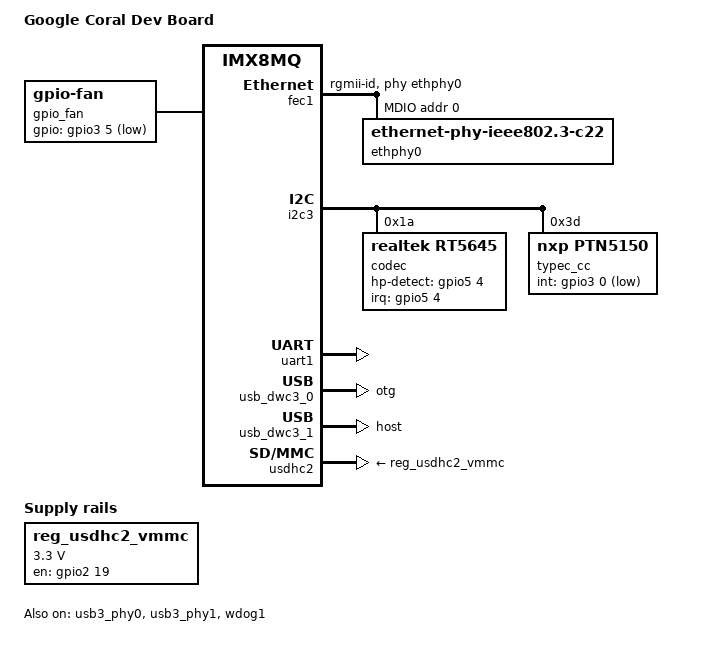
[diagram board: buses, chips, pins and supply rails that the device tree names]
// SPDX-License-Identifier: (GPL-2.0 OR MIT)

/dts-v1/;

#include <dt-bindings/gpio/gpio.h>
#include <dt-bindings/interrupt-controller/irq.h>

#include "imx8mq-coral.dtsi"

/ {
	model = "Google Coral Dev Board";
	compatible = "fsl,imx8mq";

	chosen {
		stdout-path = &uart1;
	};

	gpio_fan: gpio-fan {
		compatible = "gpio-fan";
		gpios = <&gpio3 5 GPIO_ACTIVE_LOW>;
		gpio-fan,speed-map =
			<0	0>,
			<8600	1>;
		#cooling-cells = <2>;
	};

	reg_usdhc2_vmmc: regulator-usdhc2-vmmc {
		compatible = "regulator-fixed";
		pinctrl-names = "default";
		pinctrl-0 = <&pinctrl_usdhc2_pwr>;
		regulator-name = "VSD_3V3";
		regulator-min-microvolt = <3300000>;
		regulator-max-microvolt = <3300000>;
		gpio = <&gpio2 19 GPIO_ACTIVE_HIGH>;
		enable-active-high;
	};

	thermal-zones {
		cpu-thermal {
			trips {
				cpu_active: cpu-active {
					temperature = <65000>;
					hysteresis = <10000>;
					type = "active";
				};
			};

			cooling-maps {
				map4 {
					trip = <&cpu_active>;
					cooling-device = <&gpio_fan 0 1>;
				};
			};
		};
	};
};

&fec1 {
	pinctrl-names = "default";
	pinctrl-0 = <&pinctrl_fec1>, <&pinctrl_fec1_phy_reset>;
	phy-mode = "rgmii-id";
	phy-handle = <&ethphy0>;
	fsl,magic-packet;
	status = "okay";

	mdio {
		#address-cells = <1>;
		#size-cells = <0>;

		ethphy0: ethernet-phy@0 {
			compatible = "ethernet-phy-ieee802.3-c22";
			reg = <0>;
			/*eee-broken-100tx;
			eee-broken-1000t;*/
		};
	};
};

&i2c3 {
	status = "okay";

	codec: codec@1a {
		compatible = "realtek,rt5645";
		reg = <0x1a>;
		realtek,dmic1-data-pin = <2>;
		realtek,jd-mode = <0>;
		hp-detect-gpios = <&gpio5 4 GPIO_ACTIVE_HIGH>;
		interrupt-parent = <&gpio5>;
		interrupts = <4 IRQ_TYPE_EDGE_BOTH>;
	};

	typec_cc: configuration-channel@3d {
		compatible = "nxp,ptn5150";
		reg = <0x3d>;
		pinctrl-names = "default";
		pinctrl-0 = <&pinctrl_typec>;
		int-gpio = <&gpio3 0 GPIO_ACTIVE_LOW>;
		/*vbus-gpio*/
	};
};

&iomuxc {
	pinctrl-names = "default";
	pinctrl-0 = <&pinctrl_hog>;

	pinctrl_hog: hoggrp {
		fsl,pins =
			<MX8MQ_IOMUXC_NAND_READY_B_GPIO3_IO16	0x19>,
			<MX8MQ_IOMUXC_NAND_WE_B_GPIO3_IO17	0x19>;
	};

	pinctrl_fec1: fec1grp {
		fsl,pins =
			<MX8MQ_IOMUXC_ENET_MDC_ENET1_MDC		0x3>,
			<MX8MQ_IOMUXC_ENET_MDIO_ENET1_MDIO		0x23>,
			<MX8MQ_IOMUXC_ENET_TD3_ENET1_RGMII_TD3		0x1f>,
			<MX8MQ_IOMUXC_ENET_TD2_ENET1_RGMII_TD2		0x1f>,
			<MX8MQ_IOMUXC_ENET_TD1_ENET1_RGMII_TD1		0x1f>,
			<MX8MQ_IOMUXC_ENET_TD0_ENET1_RGMII_TD0		0x1f>,
			<MX8MQ_IOMUXC_ENET_RD3_ENET1_RGMII_RD3		0x91>,
			<MX8MQ_IOMUXC_ENET_RD2_ENET1_RGMII_RD2		0x91>,
			<MX8MQ_IOMUXC_ENET_RD1_ENET1_RGMII_RD1		0x91>,
			<MX8MQ_IOMUXC_ENET_RD0_ENET1_RGMII_RD0		0x91>,
			<MX8MQ_IOMUXC_ENET_TXC_ENET1_RGMII_TXC		0x1f>,
			<MX8MQ_IOMUXC_ENET_RXC_ENET1_RGMII_RXC		0x91>,
			<MX8MQ_IOMUXC_ENET_RX_CTL_ENET1_RGMII_RX_CTL	0x91>,
			<MX8MQ_IOMUXC_ENET_TX_CTL_ENET1_RGMII_TX_CTL	0x1f>;
	};

	pinctrl_fec1_phy_reset: fec1phyresetgrp {
		fsl,pins =
			<MX8MQ_IOMUXC_GPIO1_IO09_GPIO1_IO9		0x19>;
	};

	pinctrl_typec: typecgrp {
		fsl,pins =
			<MX8MQ_IOMUXC_NAND_ALE_GPIO3_IO0	0x19>;
	};

	pinctrl_usdhc2_pwr: usdhc2grppwr {
		fsl,pins =
			<MX8MQ_IOMUXC_SD2_RESET_B_GPIO2_IO19	0x41>;
	};

	pinctrl_usdhc2: usdhc2grp {
		fsl,pins =
			<MX8MQ_IOMUXC_SD2_CLK_USDHC2_CLK	0x83>,
			<MX8MQ_IOMUXC_SD2_CMD_USDHC2_CMD	0xc3>,
			<MX8MQ_IOMUXC_SD2_DATA0_USDHC2_DATA0	0xc3>,
			<MX8MQ_IOMUXC_SD2_DATA1_USDHC2_DATA1	0xc3>,
			<MX8MQ_IOMUXC_SD2_DATA2_USDHC2_DATA2	0xc3>,
			<MX8MQ_IOMUXC_SD2_DATA3_USDHC2_DATA3	0xc3>;
	};

	pinctrl_usdhc2_100mhz: usdhc2grp100mhz {
		fsl,pins =
			<MX8MQ_IOMUXC_SD2_CLK_USDHC2_CLK	0x85>,
			<MX8MQ_IOMUXC_SD2_CMD_USDHC2_CMD	0xc5>,
			<MX8MQ_IOMUXC_SD2_DATA0_USDHC2_DATA0	0xc5>,
			<MX8MQ_IOMUXC_SD2_DATA1_USDHC2_DATA1	0xc5>,
			<MX8MQ_IOMUXC_SD2_DATA2_USDHC2_DATA2	0xc5>,
			<MX8MQ_IOMUXC_SD2_DATA3_USDHC2_DATA3	0xc5>;
	};

	pinctrl_usdhc2_200mhz: usdhc2grp200mhz {
		fsl,pins =
			<MX8MQ_IOMUXC_SD2_CLK_USDHC2_CLK	0x87>,
			<MX8MQ_IOMUXC_SD2_CMD_USDHC2_CMD	0xc7>,
			<MX8MQ_IOMUXC_SD2_DATA0_USDHC2_DATA0	0xc7>,
			<MX8MQ_IOMUXC_SD2_DATA1_USDHC2_DATA1	0xc7>,
			<MX8MQ_IOMUXC_SD2_DATA2_USDHC2_DATA2	0xc7>,
			<MX8MQ_IOMUXC_SD2_DATA3_USDHC2_DATA3	0xc7>;
	};

	pinctrl_wdog: wdog1grp {
		fsl,pins =
			<MX8MQ_IOMUXC_GPIO1_IO02_WDOG1_WDOG_B	0xc6>;
	};
};

/* Micro USB + Raspberry Pi compatible GPIO connector pins */
&uart1 {
	status = "okay";
};

/* 40-pin GPIO connector */
&uart3 {
	status = "disabled";
};

&usb3_phy0 {
	status = "okay";
};

&usb3_phy1 {
	status = "okay";
};

&usb_dwc3_0 {
	dr_mode = "otg";
	status = "okay";
};

&usb_dwc3_1 {
	dr_mode = "host";
	status = "okay";
};

/* microSD */
&usdhc2 {
	pinctrl-names = "default", "state_100mhz", "state_200mhz";
	pinctrl-0 = <&pinctrl_usdhc2>;
	pinctrl-1 = <&pinctrl_usdhc2_100mhz>;
	pinctrl-2 = <&pinctrl_usdhc2_200mhz>;
	vmmc-supply = <&reg_usdhc2_vmmc>;
	status = "okay";
};

&wdog1 {
	pinctrl-names = "default";
	pinctrl-0 = <&pinctrl_wdog>;
	fsl,ext-reset-output;
	status = "okay";
};
